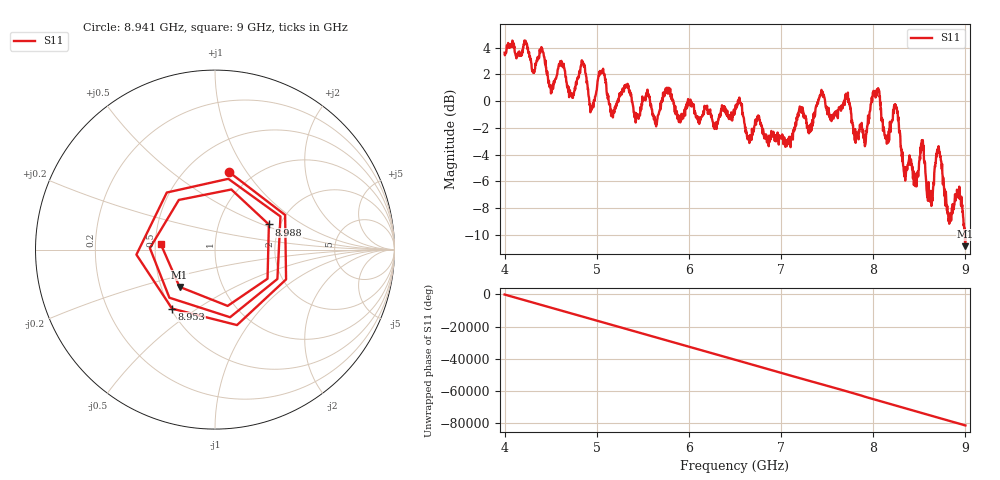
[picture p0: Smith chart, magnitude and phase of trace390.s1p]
! Created with skrf 1.8.0 (http://scikit-rf.org).
# Hz S RI R 50.0
!freq ReS11 ImS11
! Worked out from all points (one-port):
!   1601 points, 4 GHz to 9 GHz, reference 50 ohm
!   lowest |S11| = -10.9 dB at 8.997 GHz (marker M1), VSWR 1.80, Z = 31.1 - j14.1 ohm
!   |S11| at or under -10 dB: 8.99444 GHz to end of sweep
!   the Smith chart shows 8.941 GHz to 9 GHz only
!   S11 on the Smith chart (normalised r, x): 8.941 GHz: 0.77, +0.83; 8.953 GHz: 0.51, -0.40; 8.988 GHz: 1.75, +0.55; 9 GHz: 0.53, +0.04
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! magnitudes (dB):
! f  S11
! 4 GHz  3.6
! 4.506 GHz  0.7
! 4.625 GHz  2.8
! 4.725 GHz  0.5
! 4.85 GHz  2.8
! 4.941 GHz  -0.6
! 5.05 GHz  2.1
! 5.166 GHz  -0.8
! 5.25 GHz  0.5
! 5.875 GHz  -1.1
! 6.5 GHz  -0.7
! 7.125 GHz  -2.6
! 7.441 GHz  0.8
! 7.75 GHz  -0.4
! 7.909 GHz  -3.4
! 8.041 GHz  0.9
! 8.147 GHz  -3.2
! 8.241 GHz  -0.3
! 8.375 GHz  -4.8
! 8.538 GHz  -2.9
! 8.619 GHz  -7.5
! 8.709 GHz  -3.4
! 8.822 GHz  -8.7
! 8.941 GHz  -7.1
! 8.953 GHz  -7.8
! 8.988 GHz  -9.6
! 8.997 GHz  -10.9
! 9 GHz  -10.3
